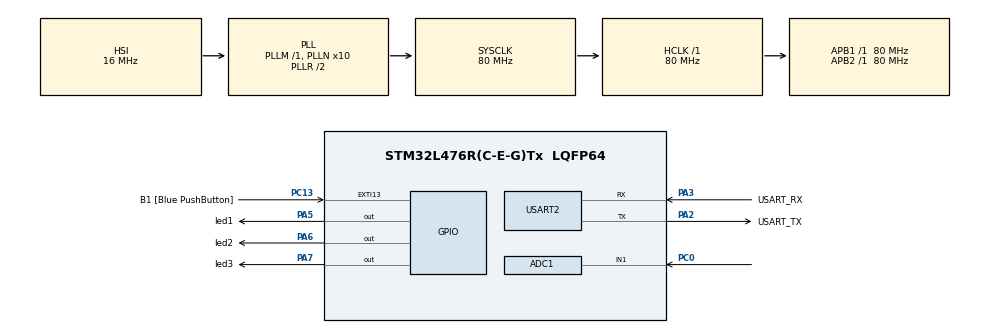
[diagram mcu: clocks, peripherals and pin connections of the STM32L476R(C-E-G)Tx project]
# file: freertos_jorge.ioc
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ADC1.Channel-0\#ChannelRegularConversion=ADC_CHANNEL_1
ADC1.ContinuousConvMode=ENABLE
ADC1.DMAContinuousRequests=ENABLE
ADC1.NbrOfConversionFlag=1
ADC1.OffsetNumber-0\#ChannelRegularConversion=ADC_OFFSET_NONE
ADC1.Rank-0\#ChannelRegularConversion=1
ADC1.SamplingTime-0\#ChannelRegularConversion=ADC_SAMPLETIME_640CYCLES_5
ADC1.master=1
Dma.ADC1.0.Direction=DMA_PERIPH_TO_MEMORY
Dma.ADC1.0.Instance=DMA1_Channel1
Dma.ADC1.0.MemDataAlignment=DMA_MDATAALIGN_WORD
Dma.ADC1.0.MemInc=DMA_MINC_ENABLE
Dma.ADC1.0.Mode=DMA_CIRCULAR
Dma.ADC1.0.PeriphDataAlignment=DMA_PDATAALIGN_WORD
Dma.ADC1.0.PeriphInc=DMA_PINC_DISABLE
Dma.ADC1.0.Priority=DMA_PRIORITY_LOW
Dma.Request0=ADC1
FREERTOS.Tasks01=lcd,0,128,Startlcd,Default,NULL,Dynamic,NULL,NULL;adc,-3,128,Startadc,Default,NULL,Dynamic,NULL,NULL;led,-3,128,Startled,Default,NULL,Dynamic,NULL,NULL;adcj,-3,128,Startadcj,Default,NULL,Dynamic,NULL,NULL
FREERTOS.configUSE_NEWLIB_REENTRANT=1
Mcu.Family=STM32L4
Mcu.Name=STM32L476R(C-E-G)Tx
Mcu.Package=LQFP64
NVIC.DMA1_Channel1_IRQn=true\:5\:0\:false\:false\:true\:true\:false\:true\:true
NVIC.PriorityGroup=NVIC_PRIORITYGROUP_4
NVIC.TIM3_IRQn=true\:15\:0\:false\:false\:true\:false\:false\:true\:true
NVIC.TimeBase=TIM3_IRQn
NVIC.TimeBaseIP=TIM3
PA13\ (JTMS-SWDIO).GPIO_Label=TMS
PA13\ (JTMS-SWDIO).Mode=Serial_Wire
PA13\ (JTMS-SWDIO).Signal=SYS_JTMS-SWDIO
PA14\ (JTCK-SWCLK).GPIO_Label=TCK
PA14\ (JTCK-SWCLK).Mode=Serial_Wire
PA14\ (JTCK-SWCLK).Signal=SYS_JTCK-SWCLK
PA2.GPIO_Label=USART_TX
PA2.GPIO_Mode=GPIO_MODE_AF_PP
PA2.GPIO_PuPd=GPIO_NOPULL
PA2.GPIO_Speed=GPIO_SPEED_FREQ_VERY_HIGH
PA2.Mode=Asynchronous
PA2.Signal=USART2_TX
PA3.GPIO_Label=USART_RX
PA3.GPIO_Mode=GPIO_MODE_AF_PP
PA3.GPIO_PuPd=GPIO_NOPULL
PA3.GPIO_Speed=GPIO_SPEED_FREQ_VERY_HIGH
PA3.Mode=Asynchronous
PA3.Signal=USART2_RX
PA5.GPIO_Label=led1
PA5.GPIO_ModeDefaultOutputPP=GPIO_MODE_OUTPUT_PP
PA5.GPIO_PuPd=GPIO_NOPULL
PA5.GPIO_Speed=GPIO_SPEED_FREQ_LOW
PA5.Signal=GPIO_Output
PA6.GPIO_Label=led2
PA6.Signal=GPIO_Output
PA7.GPIO_Label=led3
PA7.Signal=GPIO_Output
PB3\ (JTDO-TRACESWO).GPIO_Label=SWO
PB3\ (JTDO-TRACESWO).Signal=SYS_JTDO-SWO
PC0.Signal=ADCx_IN1
PC13.GPIO_Label=B1 [Blue PushButton]
PC13.GPIO_ModeDefaultEXTI=GPIO_MODE_IT_FALLING
PC13.GPIO_PuPd=GPIO_NOPULL
PC13.Signal=GPXTI13
PC14-OSC32_IN\ (PC14).Signal=RCC_OSC32_IN
PC15-OSC32_OUT\ (PC15).Signal=RCC_OSC32_OUT
PH0-OSC_IN\ (PH0).Mode=HSE-External-Oscillator
PH0-OSC_IN\ (PH0).Signal=RCC_OSC_IN
PH1-OSC_OUT\ (PH1).Mode=HSE-External-Oscillator
PH1-OSC_OUT\ (PH1).Signal=RCC_OSC_OUT
ProjectManager.HeapSize=0x200
ProjectManager.StackSize=0x400
ProjectManager.TargetToolchain=STM32CubeIDE
RCC.ADCFreq_Value=64000000
RCC.AHBFreq_Value=80000000
RCC.APB1Freq_Value=80000000
RCC.APB1TimFreq_Value=80000000
RCC.APB2Freq_Value=80000000
RCC.APB2TimFreq_Value=80000000
RCC.CortexFreq_Value=80000000
RCC.HCLKFreq_Value=80000000
RCC.HSE_VALUE=8000000
RCC.HSI_VALUE=16000000
RCC.MSI_VALUE=4000000
RCC.PLLN=10
RCC.PLLSourceVirtual=RCC_PLLSOURCE_HSI
RCC.PREFETCH_ENABLE=1
RCC.SYSCLKFreq_VALUE=80000000
RCC.SYSCLKSource=RCC_SYSCLKSOURCE_PLLCLK
RCC.USBFreq_Value=64000000
RCC.VCOOutputFreq_Value=160000000
SH.ADCx_IN1.0=ADC1_IN1,IN1-Single-Ended
USART2.VirtualMode-Asynchronous=VM_ASYNC
VP_FREERTOS_VS_CMSIS_V1.Mode=CMSIS_V1
VP_SYS_VS_tim3.Mode=TIM3
board=NUCLEO-L476RG

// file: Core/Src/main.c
/* USER CODE BEGIN Header */
/**
  ******************************************************************************
  * @file           : main.c
  * @brief          : Main program body
  ******************************************************************************
  * @attention
  *
  * Copyright (c) 2024 STMicroelectronics.
  * All rights reserved.
  *
  * This software is licensed under terms that can be found in the LICENSE file
  * in the root directory of this software component.
  * If no LICENSE file comes with this software, it is provided AS-IS.
  *
  ******************************************************************************
  */
/* USER CODE END Header */
#include "main.h"
#include "cmsis_os.h"

/* USER CODE BEGIN PD */
#define voltaje 3.3
/* USER CODE END PD */

ADC_HandleTypeDef hadc1;
DMA_HandleTypeDef hdma_adc1;

UART_HandleTypeDef huart2;

osThreadId lcdHandle;
osThreadId adcHandle;
osThreadId ledHandle;
osThreadId adcjHandle;

void SystemClock_Config(void);
static void MX_GPIO_Init(void);
static void MX_DMA_Init(void);
static void MX_USART2_UART_Init(void);
static void MX_ADC1_Init(void);
void Startlcd(void const * argument);
void Startadc(void const * argument);
void Startled(void const * argument);
void Startadcj(void const * argument);

/* USER CODE BEGIN 0 */
int tarea1 =0;
int tarea2 =0;
int tarea3 =0;
uint32_t medicion =0;
float Volt =0.00;
/* USER CODE END 0 */

int main(void)
{

  /* MCU Configuration--------------------------------------------------------*/

  /* Reset of all peripherals, Initializes the Flash interface and the Systick. */
  HAL_Init();

  /* Configure the system clock */
  SystemClock_Config();

  /* Initialize all configured peripherals */
  MX_GPIO_Init();
  MX_DMA_Init();
  MX_USART2_UART_Init();
  MX_ADC1_Init();

  /* Create the thread(s) */
  /* definition and creation of lcd */
  osThreadDef(lcd, Startlcd, osPriorityNormal, 0, 128);
  lcdHandle = osThreadCreate(osThread(lcd), NULL);

  /* definition and creation of adc */
  osThreadDef(adc, Startadc, osPriorityIdle, 0, 128);
  adcHandle = osThreadCreate(osThread(adc), NULL);

  /* definition and creation of led */
  osThreadDef(led, Startled, osPriorityIdle, 0, 128);
  ledHandle = osThreadCreate(osThread(led), NULL);

  /* definition and creation of adcj */
  osThreadDef(adcj, Startadcj, osPriorityIdle, 0, 128);
  adcjHandle = osThreadCreate(osThread(adcj), NULL);

  /* Start scheduler */
  osKernelStart();

  /* We should never get here as control is now taken by the scheduler */
  /* Infinite loop */
  while (1)
  {

  }
}

void SystemClock_Config(void)
{
  RCC_OscInitTypeDef RCC_OscInitStruct = {0};
  RCC_ClkInitTypeDef RCC_ClkInitStruct = {0};

  /** Configure the main internal regulator output voltage
  */
  if (HAL_PWREx_ControlVoltageScaling(PWR_REGULATOR_VOLTAGE_SCALE1) != HAL_OK)
  {
    Error_Handler();
  }

  /** Initializes the RCC Oscillators according to the specified parameters
  * in the RCC_OscInitTypeDef structure.
  */
  RCC_OscInitStruct.OscillatorType = RCC_OSCILLATORTYPE_HSI;
  RCC_OscInitStruct.HSIState = RCC_HSI_ON;
  RCC_OscInitStruct.HSICalibrationValue = RCC_HSICALIBRATION_DEFAULT;
  RCC_OscInitStruct.PLL.PLLState = RCC_PLL_ON;
  RCC_OscInitStruct.PLL.PLLSource = RCC_PLLSOURCE_HSI;
  RCC_OscInitStruct.PLL.PLLM = 1;
  RCC_OscInitStruct.PLL.PLLN = 10;
  RCC_OscInitStruct.PLL.PLLP = RCC_PLLP_DIV7;
  RCC_OscInitStruct.PLL.PLLQ = RCC_PLLQ_DIV2;
  RCC_OscInitStruct.PLL.PLLR = RCC_PLLR_DIV2;
  if (HAL_RCC_OscConfig(&RCC_OscInitStruct) != HAL_OK)
  {
    Error_Handler();
  }

  /** Initializes the CPU, AHB and APB buses clocks
  */
  RCC_ClkInitStruct.ClockType = RCC_CLOCKTYPE_HCLK|RCC_CLOCKTYPE_SYSCLK
                              |RCC_CLOCKTYPE_PCLK1|RCC_CLOCKTYPE_PCLK2;
  RCC_ClkInitStruct.SYSCLKSource = RCC_SYSCLKSOURCE_PLLCLK;
  RCC_ClkInitStruct.AHBCLKDivider = RCC_SYSCLK_DIV1;
  RCC_ClkInitStruct.APB1CLKDivider = RCC_HCLK_DIV1;
  RCC_ClkInitStruct.APB2CLKDivider = RCC_HCLK_DIV1;

  if (HAL_RCC_ClockConfig(&RCC_ClkInitStruct, FLASH_LATENCY_4) != HAL_OK)
  {
    Error_Handler();
  }
}

static void MX_ADC1_Init(void)
{

  ADC_MultiModeTypeDef multimode = {0};
  ADC_ChannelConfTypeDef sConfig = {0};

  /** Common config
  */
  hadc1.Instance = ADC1;
  hadc1.Init.ClockPrescaler = ADC_CLOCK_ASYNC_DIV1;
  hadc1.Init.Resolution = ADC_RESOLUTION_12B;
  hadc1.Init.DataAlign = ADC_DATAALIGN_RIGHT;
  hadc1.Init.ScanConvMode = ADC_SCAN_DISABLE;
  hadc1.Init.EOCSelection = ADC_EOC_SINGLE_CONV;
  hadc1.Init.LowPowerAutoWait = DISABLE;
  hadc1.Init.ContinuousConvMode = ENABLE;
  hadc1.Init.NbrOfConversion = 1;
  hadc1.Init.DiscontinuousConvMode = DISABLE;
  hadc1.Init.ExternalTrigConv = ADC_SOFTWARE_START;
  hadc1.Init.ExternalTrigConvEdge = ADC_EXTERNALTRIGCONVEDGE_NONE;
  hadc1.Init.DMAContinuousRequests = ENABLE;
  hadc1.Init.Overrun = ADC_OVR_DATA_PRESERVED;
  hadc1.Init.OversamplingMode = DISABLE;
  if (HAL_ADC_Init(&hadc1) != HAL_OK)
  {
    Error_Handler();
  }

  /** Configure the ADC multi-mode
  */
  multimode.Mode = ADC_MODE_INDEPENDENT;
  if (HAL_ADCEx_MultiModeConfigChannel(&hadc1, &multimode) != HAL_OK)
  {
    Error_Handler();
  }

  /** Configure Regular Channel
  */
  sConfig.Channel = ADC_CHANNEL_1;
  sConfig.Rank = ADC_REGULAR_RANK_1;
  sConfig.SamplingTime = ADC_SAMPLETIME_640CYCLES_5;
  sConfig.SingleDiff = ADC_SINGLE_ENDED;
  sConfig.OffsetNumber = ADC_OFFSET_NONE;
  sConfig.Offset = 0;
  if (HAL_ADC_ConfigChannel(&hadc1, &sConfig) != HAL_OK)
  {
    Error_Handler();
  }

}

static void MX_USART2_UART_Init(void)
{

  huart2.Instance = USART2;
  huart2.Init.BaudRate = 115200;
  huart2.Init.WordLength = UART_WORDLENGTH_8B;
  huart2.Init.StopBits = UART_STOPBITS_1;
  huart2.Init.Parity = UART_PARITY_NONE;
  huart2.Init.Mode = UART_MODE_TX_RX;
  huart2.Init.HwFlowCtl = UART_HWCONTROL_NONE;
  huart2.Init.OverSampling = UART_OVERSAMPLING_16;
  huart2.Init.OneBitSampling = UART_ONE_BIT_SAMPLE_DISABLE;
  huart2.AdvancedInit.AdvFeatureInit = UART_ADVFEATURE_NO_INIT;
  if (HAL_UART_Init(&huart2) != HAL_OK)
  {
    Error_Handler();
  }

}

static void MX_DMA_Init(void)
{

  /* DMA controller clock enable */
  __HAL_RCC_DMA1_CLK_ENABLE();

  /* DMA interrupt init */
  /* DMA1_Channel1_IRQn interrupt configuration */
  HAL_NVIC_SetPriority(DMA1_Channel1_IRQn, 5, 0);
  HAL_NVIC_EnableIRQ(DMA1_Channel1_IRQn);

}

static void MX_GPIO_Init(void)
{
  GPIO_InitTypeDef GPIO_InitStruct = {0};

  /* GPIO Ports Clock Enable */
  __HAL_RCC_GPIOC_CLK_ENABLE();
  __HAL_RCC_GPIOH_CLK_ENABLE();
  __HAL_RCC_GPIOA_CLK_ENABLE();
  __HAL_RCC_GPIOB_CLK_ENABLE();

  /*Configure GPIO pin Output Level */
  HAL_GPIO_WritePin(GPIOA, led1_Pin|led2_Pin|led3_Pin, GPIO_PIN_RESET);

  /*Configure GPIO pin : B1_Pin */
  GPIO_InitStruct.Pin = B1_Pin;
  GPIO_InitStruct.Mode = GPIO_MODE_IT_FALLING;
  GPIO_InitStruct.Pull = GPIO_NOPULL;
  HAL_GPIO_Init(B1_GPIO_Port, &GPIO_InitStruct);

  /*Configure GPIO pins : led1_Pin led2_Pin led3_Pin */
  GPIO_InitStruct.Pin = led1_Pin|led2_Pin|led3_Pin;
  GPIO_InitStruct.Mode = GPIO_MODE_OUTPUT_PP;
  GPIO_InitStruct.Pull = GPIO_NOPULL;
  GPIO_InitStruct.Speed = GPIO_SPEED_FREQ_LOW;
  HAL_GPIO_Init(GPIOA, &GPIO_InitStruct);

}

void Startlcd(void const * argument)
{
  /* USER CODE BEGIN 5 */
  /* Infinite loop */
  for(;;)
  {
	HAL_GPIO_TogglePin(led1_GPIO_Port,led1_Pin);
    osDelay(200);

  }
  /* USER CODE END 5 */
}

void Startadc(void const * argument)
{
  /* USER CODE BEGIN Startadc */
  /* Infinite loop */
  for(;;)
  {
	  HAL_GPIO_TogglePin(led2_GPIO_Port,led2_Pin);
	     osDelay(200);

  }
  /* USER CODE END Startadc */
}

void Startled(void const * argument)
{
  /* USER CODE BEGIN Startled */
  /* Infinite loop */
  for(;;)
  {
	  HAL_GPIO_TogglePin(led3_GPIO_Port,led3_Pin);
	     osDelay(200);

  }
  tarea1=0;
  tarea2=0;
  tarea3=0;
  /* USER CODE END Startled */
}

void Startadcj(void const * argument)
{
	HAL_ADC_Start_DMA(&hadc1, &medicion, 1);
  /* USER CODE BEGIN Startadcj */
  /* Infinite loop */
  for(;;)
  {
	  Volt = (medicion / 4096.0) * voltaje;
    osDelay(4);
  }
  /* USER CODE END Startadcj */
}

void HAL_TIM_PeriodElapsedCallback(TIM_HandleTypeDef *htim)
{
  if (htim->Instance == TIM3) {
    HAL_IncTick();
  }
}

void Error_Handler(void)
{
  __disable_irq();
  while (1)
  {
  }
}
